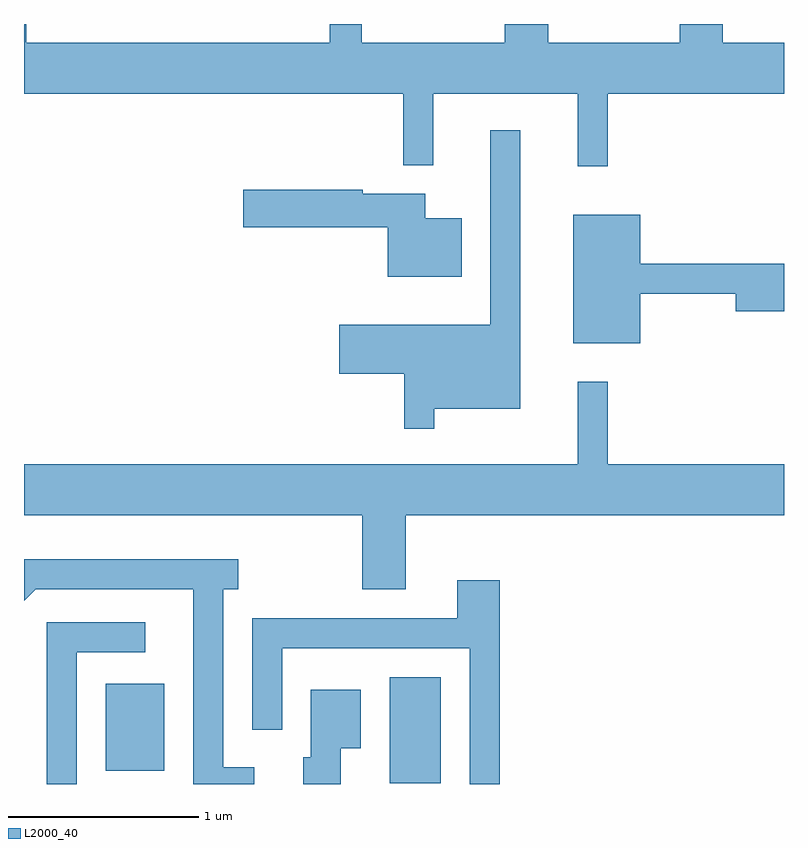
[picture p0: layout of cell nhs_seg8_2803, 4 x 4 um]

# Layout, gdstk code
import gdstk
lib = gdstk.Library(unit=1e-6, precision=1e-09)
def R(c, l, rs):  # rectangles x0, y0, x1, y1
    for r in rs: c.add(gdstk.rectangle(r[:2], r[2:], *l))
def P(c, l, *ps):  # polygons
    for p in ps: c.add(gdstk.Polygon(p, *l))
L2000_40 = (2000, 40)

nhs_seg8_2803 = lib.new_cell('nhs_seg8_2803')
R(nhs_seg8_2803, L2000_40, [(271.536,1828.346,271.804,1828.904), (270.041,1828.411,270.349,1828.869)])
P(nhs_seg8_2803, L2000_40, [(272.684,1831.976),(273.611,1831.976),(273.611,1832.244),(273.289,1832.244),(273.289,1832.342),(273.061,1832.342),(273.061,1832.244),(272.369,1832.244),(272.369,1832.342),(272.141,1832.342),(272.141,1832.244),(271.389,1832.244),(271.389,1832.342),(271.221,1832.342),(271.221,1832.244),(269.624,1832.244),(269.624,1832.342),(269.611,1832.342),(269.611,1831.976),(271.606,1831.976),(271.606,1831.598),(271.764,1831.598),(271.764,1831.976),(272.526,1831.976),(272.526,1831.593),(272.684,1831.593)],
  [(271.769,1830.316),(272.224,1830.316),(272.224,1831.783),(272.066,1831.783),(272.066,1830.759),(271.271,1830.759),(271.271,1830.501),(271.611,1830.501),(271.611,1830.213),(271.769,1830.213)],
  [(271.914,1831.319),(271.724,1831.319),(271.724,1831.449),(271.394,1831.449),(271.394,1831.469),(270.766,1831.469),(270.766,1831.271),(271.526,1831.271),(271.526,1831.011),(271.914,1831.011)],
  [(272.854,1830.921),(273.356,1830.921),(273.356,1830.831),(273.611,1830.831),(273.611,1831.079),(272.854,1831.079),(272.854,1831.339),(272.501,1831.339),(272.501,1830.661),(272.854,1830.661)],
  [(271.619,1829.756),(273.611,1829.756),(273.611,1830.024),(272.684,1830.024),(272.684,1830.458),(272.526,1830.458),(272.526,1830.024),(269.611,1830.024),(269.611,1829.756),(271.391,1829.756),(271.391,1829.366),(271.619,1829.366)],
  [(270.823,1828.429),(270.659,1828.429),(270.659,1829.366),(270.738,1829.366),(270.738,1829.524),(269.611,1829.524),(269.611,1829.306),(269.672,1829.366),(270.501,1829.366),(270.501,1828.342),(270.823,1828.342)],
  [(272.114,1829.414),(271.891,1829.414),(271.891,1829.214),(270.811,1829.214),(270.811,1828.628),(270.969,1828.628),(270.969,1829.056),(271.956,1829.056),(271.956,1828.342),(272.114,1828.342)],
  [(269.889,1829.036),(270.248,1829.036),(270.248,1829.194),(269.731,1829.194),(269.731,1828.342),(269.889,1828.342)],
  [(271.279,1828.531),(271.384,1828.531),(271.384,1828.839),(271.121,1828.839),(271.121,1828.484),(271.081,1828.484),(271.081,1828.342),(271.279,1828.342)])

lib.write_gds('nhs_seg8_2803.gds')
